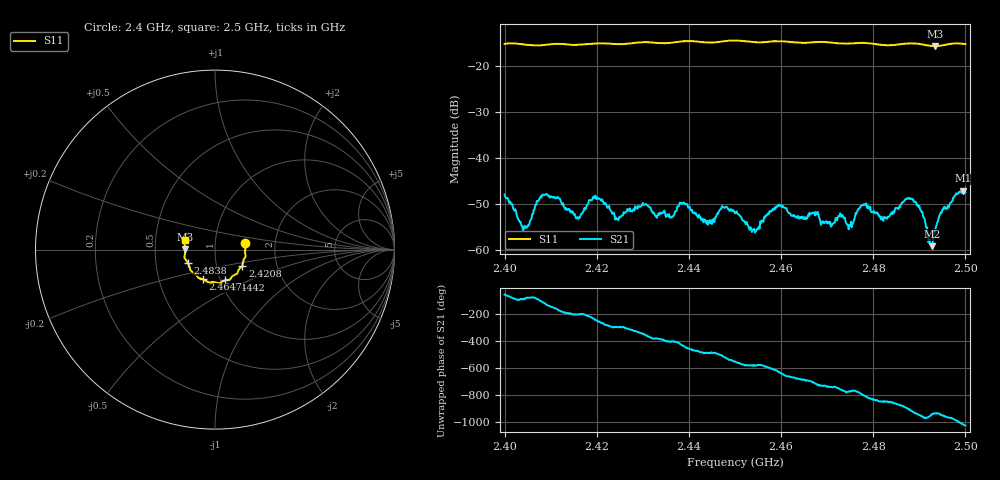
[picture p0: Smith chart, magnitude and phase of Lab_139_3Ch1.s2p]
# Hz S RI R 50
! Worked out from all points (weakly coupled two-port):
!   601 points, 2.4 GHz to 2.5 GHz, reference 50 ohm
!   highest |S21| = -47.16 dB at 2.4995 GHz (marker M1); lowest = -59.2 dB at 2.4928 GHz (marker M2)
!   lowest |S11| = -15.7 dB at 2.4935 GHz (marker M3), VSWR 1.39, Z = 35.9 + j0.151 ohm
!   |S11| at or under -10 dB: start of sweep to end of sweep
!   S12 and S22 are empty: the file has one direction only
!   S11 on the Smith chart (normalised r, x): 2.4 GHz: 1.40, +0.11; 2.4208 GHz: 1.33, -0.25; 2.4442 GHz: 1.05, -0.37; 2.4647 GHz: 0.83, -0.28; 2.4838 GHz: 0.73, -0.11; 2.5 GHz: 0.71, +0.08
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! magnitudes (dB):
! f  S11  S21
! 2.4 GHz  -15.2  -48.0
! 2.4043 GHz  -15.3  -54.8
! 2.4087 GHz  -15.4  -48.1
! 2.4167 GHz  -15.3  -52.2
! 2.4208 GHz  -15.1  -49.1
! 2.4245 GHz  -15.2  -53.4
! 2.4303 GHz  -14.8  -50.2
! 2.4333 GHz  -15.0  -52.2
! 2.4385 GHz  -14.6  -49.9
! 2.4442 GHz  -14.9  -54.6
! 2.45 GHz  -14.4  -52.0
! 2.4542 GHz  -14.8  -55.4
! 2.4593 GHz  -14.6  -50.4
! 2.4647 GHz  -15.0  -52.8
! 2.4667 GHz  -14.9  -52.0
! 2.4833 GHz  -15.5  -52.9
! 2.4838 GHz  -15.5  -52.1
! 2.4887 GHz  -15.1  -49.0
! 2.4928 GHz  -15.7  -59.2
! 2.4935 GHz  -15.7  -55.4
! 2.4995 GHz  -15.2  -47.2
! 2.5 GHz  -15.2  -47.5
